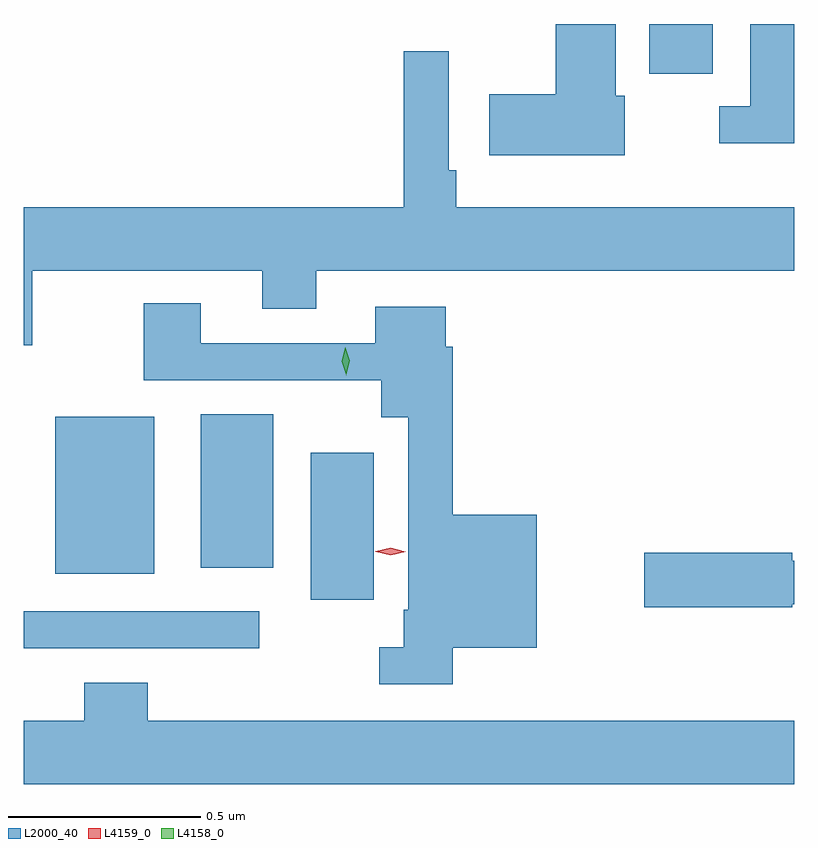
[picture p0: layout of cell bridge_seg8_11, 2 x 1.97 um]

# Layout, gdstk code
import gdstk
lib = gdstk.Library(unit=1e-6, precision=1e-09)
def R(c, l, rs):  # rectangles x0, y0, x1, y1
    for r in rs: c.add(gdstk.rectangle(r[:2], r[2:], *l))
def P(c, l, *ps):  # polygons
    for p in ps: c.add(gdstk.Polygon(p, *l))
L2000_40 = (2000, 40)
L4158_0 = (4158, 0)
L4159_0 = (4159, 0)

bridge_seg8_11 = lib.new_cell('bridge_seg8_11')
R(bridge_seg8_11, L2000_40, [(983.794,1150.152,984.406,1150.248), (984.539,1150.278,984.703,1150.66), (983.876,1150.346,984.133,1150.753), (984.254,1150.361,984.442,1150.759), (985.418,1151.643,985.582,1151.772)])
P(bridge_seg8_11, L2000_40, [(985.794,1151.772),(985.68,1151.772),(985.68,1151.559),(985.599,1151.559),(985.599,1151.462),(985.794,1151.462)],
  [(985.354,1151.586),(985.33,1151.586),(985.33,1151.772),(985.175,1151.772),(985.175,1151.59),(985.002,1151.59),(985.002,1151.432),(985.354,1151.432)],
  [(983.817,1151.132),(984.413,1151.132),(984.413,1151.033),(984.553,1151.033),(984.553,1151.132),(985.794,1151.132),(985.794,1151.296),(984.917,1151.296),(984.917,1151.392),(984.897,1151.392),(984.897,1151.701),(984.781,1151.701),(984.781,1151.296),(983.794,1151.296),(983.794,1150.938),(983.817,1150.938)],
  [(984.908,1150.154),(985.126,1150.154),(985.126,1150.498),(984.908,1150.498),(984.908,1150.934),(984.889,1150.934),(984.889,1151.038),(984.707,1151.038),(984.707,1150.944),(984.253,1150.944),(984.253,1151.047),(984.106,1151.047),(984.106,1150.848),(984.722,1150.848),(984.722,1150.751),(984.792,1150.751),(984.792,1150.252),(984.78,1150.252),(984.78,1150.155),(984.717,1150.155),(984.717,1150.059),(984.908,1150.059)],
  [(985.788,1150.266),(985.794,1150.266),(985.794,1150.379),(985.788,1150.379),(985.788,1150.4),(985.404,1150.4),(985.404,1150.258),(985.788,1150.258)],
  [(985.794,1149.964),(984.116,1149.964),(984.116,1150.063),(983.951,1150.063),(983.951,1149.964),(983.794,1149.964),(983.794,1149.8),(985.794,1149.8)])
P(bridge_seg8_11, L4158_0, [(984.631,1150.861),(984.631,1150.862),(984.62,1150.897),(984.628,1150.933),(984.629,1150.933),(984.629,1150.933),(984.64,1150.898),(984.631,1150.862)])
P(bridge_seg8_11, L4159_0, [(984.747,1150.393),(984.708,1150.403),(984.707,1150.404),(984.708,1150.404),(984.747,1150.413),(984.786,1150.403),(984.786,1150.403),(984.786,1150.403)])

lib.write_gds('bridge_seg8_11.gds')
